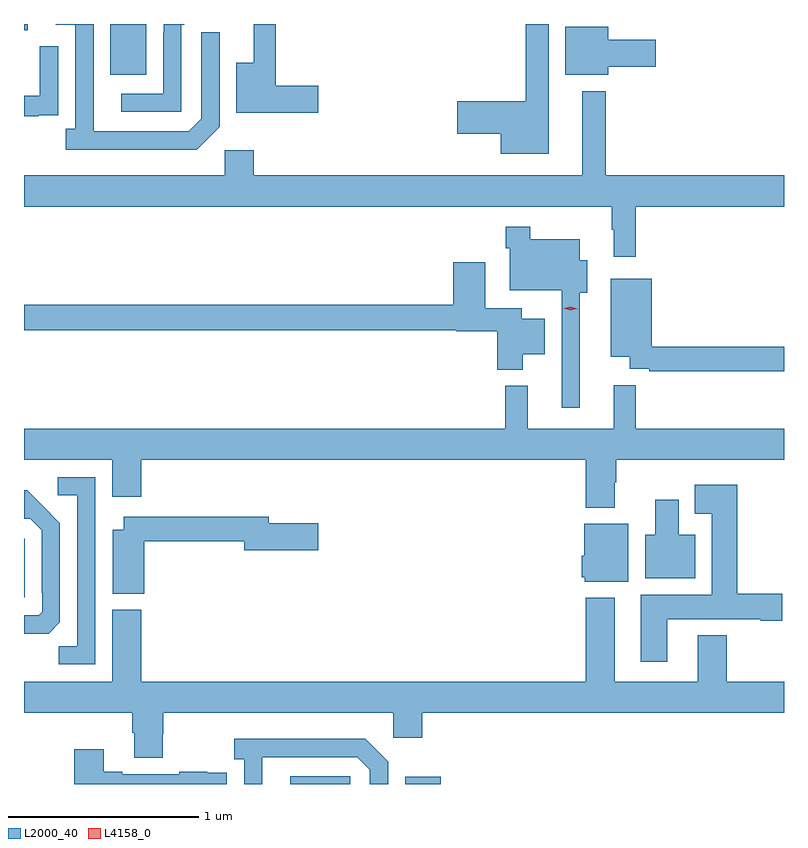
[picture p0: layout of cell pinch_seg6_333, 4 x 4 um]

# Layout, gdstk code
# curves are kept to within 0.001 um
import gdstk
lib = gdstk.Library(unit=1e-6, precision=1e-09)
def R(c, l, rs):  # rectangles x0, y0, x1, y1
    for r in rs: c.add(gdstk.rectangle(r[:2], r[2:], *l))
def P(c, l, *ps):  # polygons
    for p in ps: c.add(gdstk.Polygon(p, *l))
L2000_40 = (2000, 40)
L4158_0 = (4158, 0)

pinch_seg6_333 = lib.new_cell('pinch_seg6_333')
R(pinch_seg6_333, L2000_40, [(749.667,942.965,749.982,943.005), (750.272,942.965,750.46,943.003), (748.266,943.947,748.269,944.257), (748.721,946.697,748.909,946.965), (748.266,946.932,748.285,946.965)])
P(pinch_seg6_333, L2000_40, [(749.815,946.64),(749.591,946.64),(749.591,946.965),(749.474,946.965),(749.474,946.762),(749.384,946.762),(749.384,946.498),(749.815,946.498)],
  [(751.027,946.965),(750.906,946.965),(750.906,946.559),(750.546,946.559),(750.546,946.388),(750.776,946.388),(750.776,946.283),(751.027,946.283)],
  [(749.295,946.425),(749.295,946.921),(749.199,946.921),(749.199,946.467),(749.133,946.401),(748.633,946.401),(748.632,946.965),(748.434,946.965),(748.434,946.962),(748.536,946.962),(748.536,946.414),(748.485,946.414),(748.485,946.304),(749.174,946.304)],
  [(749.094,946.961),(749.109,946.961),(749.109,946.965),(749.001,946.965),(749.001,946.919),(748.998,946.919),(748.998,946.599),(748.779,946.599),(748.779,946.503),(749.094,946.503)],
  [(751.342,946.739),(751.591,946.739),(751.591,946.881),(751.342,946.881),(751.342,946.951),(751.115,946.951),(751.115,946.697),(751.342,946.697)],
  [(748.343,946.485),(748.445,946.485),(748.445,946.594),(748.446,946.594),(748.446,946.849),(748.35,946.849),(748.35,946.587),(748.266,946.587),(748.266,946.479),(748.343,946.479)],
  [(751.487,946.004),(752.266,946.004),(752.266,946.168),(751.327,946.168),(751.327,946.612),(751.205,946.612),(751.205,946.168),(749.474,946.168),(749.474,946.3),(749.322,946.3),(749.322,946.168),(748.266,946.168),(748.266,946.004),(751.359,946.004),(751.359,945.881),(751.37,945.881),(751.37,945.741),(751.487,945.741)],
  [(751.192,945.551),(751.231,945.551),(751.231,945.721),(751.192,945.721),(751.192,945.832),(750.931,945.832),(750.931,945.898),(750.802,945.898),(750.802,945.785),(750.822,945.785),(750.822,945.563),(751.095,945.563),(751.095,944.946),(751.192,944.946)],
  [(750.892,945.227),(751.006,945.227),(751.006,945.415),(750.886,945.415),(750.886,945.469),(750.694,945.469),(750.694,945.712),(750.524,945.712),(750.524,945.488),(748.266,945.488),(748.266,945.352),(750.54,945.352),(750.54,945.347),(750.758,945.347),(750.758,945.146),(750.892,945.146)],
  [(752.266,945.266),(751.57,945.266),(751.57,945.625),(751.355,945.625),(751.355,945.215),(751.454,945.215),(751.454,945.15),(751.558,945.15),(751.558,945.138),(752.266,945.138)],
  [(751.375,944.552),(751.383,944.552),(751.383,944.672),(752.266,944.672),(752.266,944.836),(751.487,944.836),(751.487,945.065),(751.37,945.065),(751.37,944.836),(750.917,944.836),(750.917,945.061),(750.799,945.061),(750.799,944.836),(748.266,944.836),(748.266,944.672),(748.73,944.672),(748.73,944.478),(748.883,944.478),(748.883,944.672),(751.223,944.672),(751.223,944.42),(751.375,944.42)],
  [(748.641,944.58),(748.443,944.58),(748.443,944.484),(748.545,944.484),(748.545,943.691),(748.45,943.691),(748.45,943.596),(748.641,943.596)],
  [(751.651,943.832),(752.144,943.832),(752.144,943.825),(752.257,943.825),(752.257,943.967),(752.021,943.967),(752.021,944.539),(751.796,944.539),(751.796,944.387),(751.886,944.387),(751.886,943.96),(751.511,943.96),(751.511,943.608),(751.651,943.608)],
  [(748.455,943.816),(748.455,944.338),(748.283,944.512),(748.266,944.512),(748.266,944.361),(748.299,944.361),(748.359,944.301),(748.359,943.972),(748.362,943.972),(748.362,943.872),(748.344,943.854),(748.266,943.854),(748.266,943.757),(748.396,943.757)],
  [(751.798,944.278),(751.711,944.278),(751.711,944.461),(751.589,944.461),(751.589,944.278),(751.535,944.278),(751.535,944.048),(751.798,944.048)],
  [(748.9,944.242),(749.426,944.242),(749.426,944.195),(749.815,944.195),(749.815,944.337),(749.554,944.337),(749.554,944.371),(748.79,944.371),(748.79,944.302),(748.733,944.302),(748.733,943.967),(748.9,943.967)],
  [(751.447,944.335),(751.214,944.335),(751.214,944.166),(751.202,944.166),(751.202,944.052),(751.218,944.052),(751.218,944.03),(751.447,944.03)],
  [(748.995,943.227),(749,943.227),(749,943.34),(750.21,943.34),(750.21,943.209),(750.362,943.209),(750.362,943.34),(752.266,943.34),(752.266,943.504),(751.964,943.504),(751.964,943.747),(751.811,943.747),(751.811,943.504),(751.375,943.504),(751.375,943.945),(751.223,943.945),(751.223,943.504),(748.883,943.504),(748.883,943.882),(748.73,943.882),(748.73,943.504),(748.266,943.504),(748.266,943.34),(748.835,943.34),(748.835,943.234),(748.847,943.234),(748.847,943.102),(748.995,943.102)],
  [(749.521,943.107),(750.021,943.107),(750.087,943.041),(750.087,942.965),(750.183,942.965),(750.183,943.083),(750.062,943.204),(749.373,943.204),(749.373,943.094),(749.424,943.094),(749.424,942.965),(749.521,942.965)],
  [(749.333,943.023),(749.231,943.023),(749.231,943.03),(749.083,943.03),(749.083,943.017),(748.783,943.017),(748.783,943.03),(748.687,943.03),(748.687,943.147),(748.531,943.147),(748.531,942.965),(749.333,942.965)])
P(pinch_seg6_333, L4158_0, [(751.142,945.458),(751.107,945.469),(751.106,945.47),(751.107,945.47),(751.143,945.478),(751.178,945.467),(751.178,945.466),(751.178,945.466)])

lib.write_gds('pinch_seg6_333.gds')
